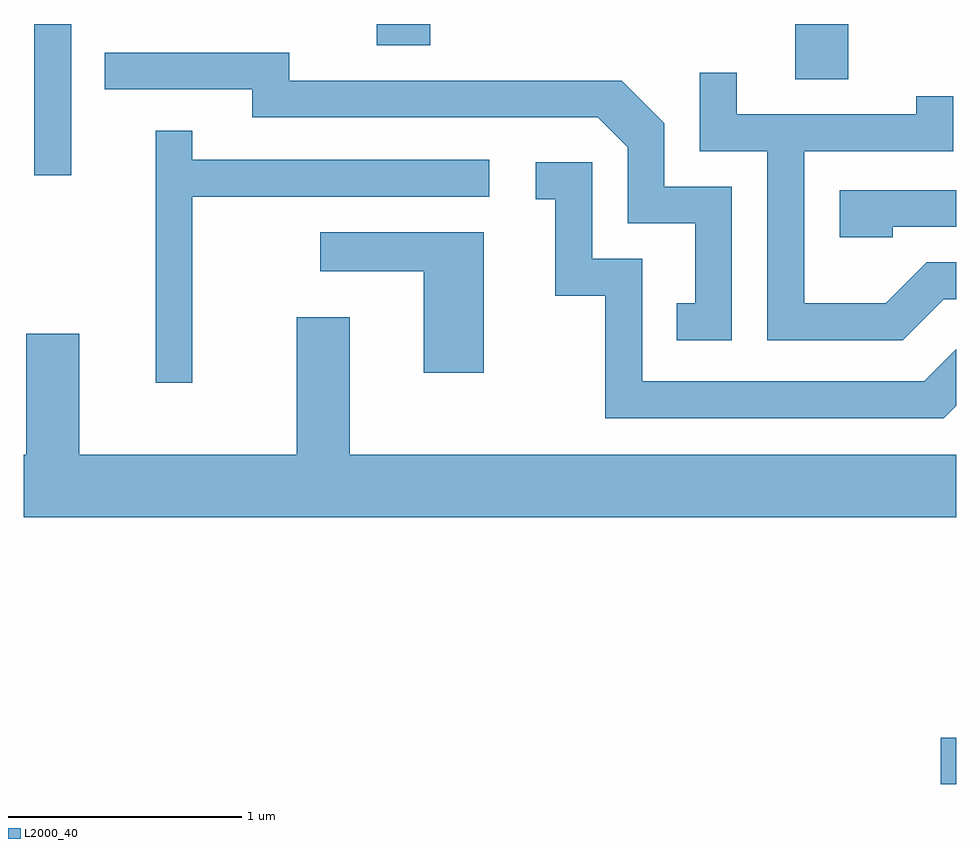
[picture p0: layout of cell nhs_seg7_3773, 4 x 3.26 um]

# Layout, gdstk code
import gdstk
lib = gdstk.Library(unit=1e-6, precision=1e-09)
def R(c, l, rs):  # rectangles x0, y0, x1, y1
    for r in rs: c.add(gdstk.rectangle(r[:2], r[2:], *l))
def P(c, l, *ps):  # polygons
    for p in ps: c.add(gdstk.Polygon(p, *l))
L2000_40 = (2000, 40)

nhs_seg7_3773 = lib.new_cell('nhs_seg7_3773')
R(nhs_seg7_3773, L2000_40, [(305.546,1670.991,305.611,1671.189), (301.656,1673.603,301.814,1674.252), (304.921,1674.016,305.149,1674.252), (303.126,1674.161,303.354,1674.252)])
P(nhs_seg7_3773, L2000_40, [(304.649,1673.554),(304.359,1673.554),(304.359,1673.827),(304.177,1674.009),(302.749,1674.009),(302.749,1674.129),(301.958,1674.129),(301.958,1673.971),(302.591,1673.971),(302.591,1673.851),(304.074,1673.851),(304.201,1673.724),(304.201,1673.396),(304.491,1673.396),(304.491,1673.054),(304.413,1673.054),(304.413,1672.896),(304.649,1672.896)],
  [(305.557,1673.071),(305.611,1673.071),(305.611,1673.229),(305.484,1673.229),(305.309,1673.054),(304.959,1673.054),(304.959,1673.706),(305.599,1673.706),(305.599,1673.943),(305.441,1673.943),(305.441,1673.864),(304.669,1673.864),(304.669,1674.043),(304.511,1674.043),(304.511,1673.706),(304.801,1673.706),(304.801,1672.896),(305.382,1672.896)],
  [(302.334,1673.511),(303.608,1673.511),(303.608,1673.669),(302.334,1673.669),(302.334,1673.793),(302.176,1673.793),(302.176,1672.713),(302.334,1672.713)],
  [(305.611,1672.615),(305.611,1672.856),(305.474,1672.719),(304.264,1672.719),(304.264,1673.244),(304.049,1673.244),(304.049,1673.659),(303.808,1673.659),(303.808,1673.501),(303.891,1673.501),(303.891,1673.086),(304.106,1673.086),(304.106,1672.561),(305.557,1672.561)],
  [(305.339,1673.381),(305.611,1673.381),(305.611,1673.539),(305.111,1673.539),(305.111,1673.336),(305.339,1673.336)],
  [(303.584,1673.359),(302.883,1673.359),(302.883,1673.191),(303.326,1673.191),(303.326,1672.756),(303.584,1672.756)],
  [(305.611,1672.404),(303.009,1672.404),(303.009,1672.994),(302.781,1672.994),(302.781,1672.404),(301.849,1672.404),(301.849,1672.924),(301.621,1672.924),(301.621,1672.404),(301.611,1672.404),(301.611,1672.136),(305.611,1672.136)])

lib.write_gds('nhs_seg7_3773.gds')
